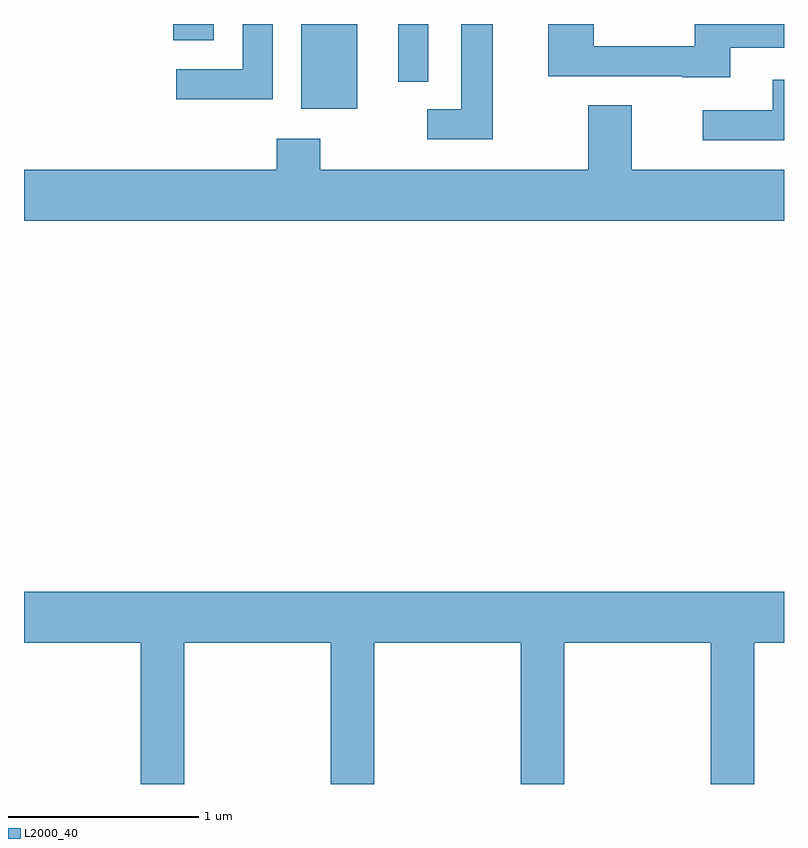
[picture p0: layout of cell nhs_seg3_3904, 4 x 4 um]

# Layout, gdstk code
import gdstk
lib = gdstk.Library(unit=1e-6, precision=1e-09)
def R(c, l, rs):  # rectangles x0, y0, x1, y1
    for r in rs: c.add(gdstk.rectangle(r[:2], r[2:], *l))
def P(c, l, *ps):  # polygons
    for p in ps: c.add(gdstk.Polygon(p, *l))
L2000_40 = (2000, 40)

nhs_seg3_3904 = lib.new_cell('nhs_seg3_3904')
R(nhs_seg3_3904, L2000_40, [(301.071,1175.446,301.364,1175.892), (301.581,1175.588,301.739,1175.892), (300.396,1175.806,300.609,1175.892)])
P(nhs_seg3_3904, L2000_40, [(300.919,1175.892),(300.761,1175.892),(300.761,1175.654),(300.413,1175.654),(300.413,1175.496),(300.919,1175.496)],
  [(303.329,1175.766),(303.611,1175.766),(303.611,1175.892),(303.141,1175.892),(303.141,1175.774),(302.609,1175.774),(302.609,1175.892),(302.371,1175.892),(302.371,1175.616),(303.075,1175.616),(303.075,1175.611),(303.329,1175.611)],
  [(302.079,1175.892),(301.911,1175.892),(301.911,1175.444),(301.733,1175.444),(301.733,1175.286),(302.079,1175.286)],
  [(303.611,1175.599),(303.551,1175.599),(303.551,1175.439),(303.183,1175.439),(303.183,1175.281),(303.611,1175.281)],
  [(303.611,1175.124),(302.809,1175.124),(302.809,1175.464),(302.581,1175.464),(302.581,1175.124),(301.169,1175.124),(301.169,1175.289),(300.941,1175.289),(300.941,1175.124),(299.611,1175.124),(299.611,1174.856),(303.611,1174.856)],
  [(300.454,1172.636),(301.226,1172.636),(301.226,1171.892),(301.454,1171.892),(301.454,1172.636),(302.226,1172.636),(302.226,1171.892),(302.454,1171.892),(302.454,1172.636),(303.226,1172.636),(303.226,1171.892),(303.454,1171.892),(303.454,1172.636),(303.611,1172.636),(303.611,1172.904),(299.611,1172.904),(299.611,1172.636),(300.226,1172.636),(300.226,1171.892),(300.454,1171.892)])

lib.write_gds('nhs_seg3_3904.gds')
